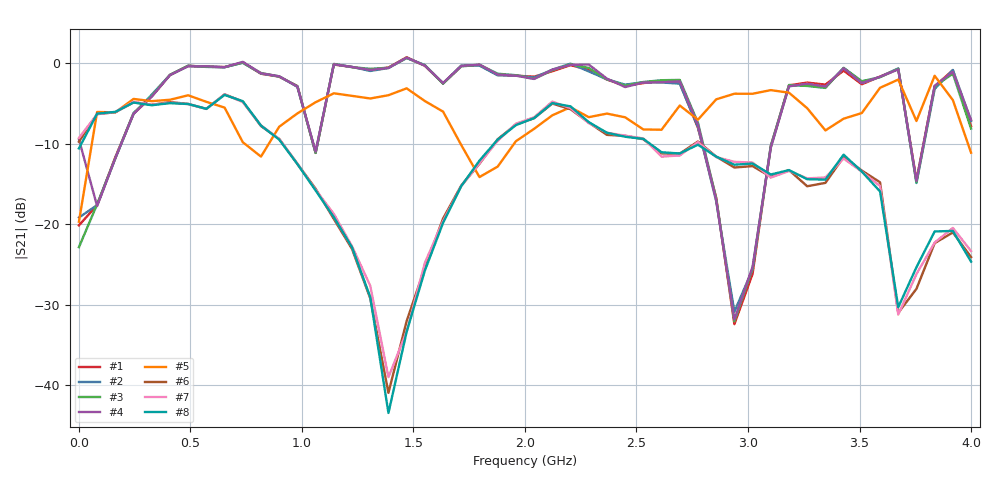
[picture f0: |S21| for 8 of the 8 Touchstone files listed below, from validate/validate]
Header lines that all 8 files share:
!Created with skrf (http://scikit-rf.org).
# GHz S DB R 50.0
!freq dBS11 angS11 dBS21 angS21 dBS12 angS12 dBS22 angS22
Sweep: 1 MHz to 4 GHz
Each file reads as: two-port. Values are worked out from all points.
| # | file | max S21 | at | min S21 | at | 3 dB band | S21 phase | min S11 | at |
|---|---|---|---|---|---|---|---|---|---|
| 1 | dut2(jump-repeat)-validate.s2p | 0.77 dB | 1.47 GHz | -32.4 dB | 2.939 GHz | 1.715 GHz-2.368 GHz | 100 deg at 2.041 GHz | -30.6 dB | 735.5 MHz |
| 2 | dut2(repeat)-validate.s2p | 0.68 dB | 1.47 GHz | -30.9 dB | 2.939 GHz | 1.715 GHz-2.368 GHz | 101 deg at 2.041 GHz | -28.9 dB | 735.5 MHz |
| 3 | dut2(rev-repeat)-validate.s2p | 0.68 dB | 1.47 GHz | -32.1 dB | 2.939 GHz | 1.715 GHz-2.368 GHz | 101 deg at 2.041 GHz | -31.2 dB | 4 GHz |
| 4 | dut2-validate.s2p | 0.73 dB | 1.47 GHz | -31.8 dB | 2.939 GHz | 1.715 GHz-2.368 GHz | 102 deg at 2.041 GHz | -27.0 dB | 735.5 MHz |
| 5 | dut3(repeat)-validate.s2p | -1.53 dB | 3.837 GHz | -19.7 dB | 1 MHz | 1.144 GHz-1.47 GHz | 74 deg at 2.041 GHz | -30.7 dB | 3.265 GHz |
| 6 | dut4(jump-repeat)-validate.s2p | -3.84 dB | 653.9 MHz | -41.0 dB | 1.388 GHz | 82.61 MHz-735.5 MHz | -82 deg at 2.041 GHz | -23.5 dB | 735.5 MHz |
| 7 | dut4(repeat)-validate.s2p | -3.85 dB | 653.9 MHz | -39.0 dB | 1.388 GHz | 82.61 MHz-735.5 MHz | -82 deg at 2.041 GHz | -23.9 dB | 735.5 MHz |
| 8 | dut4-validate.s2p | -3.91 dB | 653.9 MHz | -43.5 dB | 1.388 GHz | 82.61 MHz-735.5 MHz | -83 deg at 2.041 GHz | -23.6 dB | 735.5 MHz |
